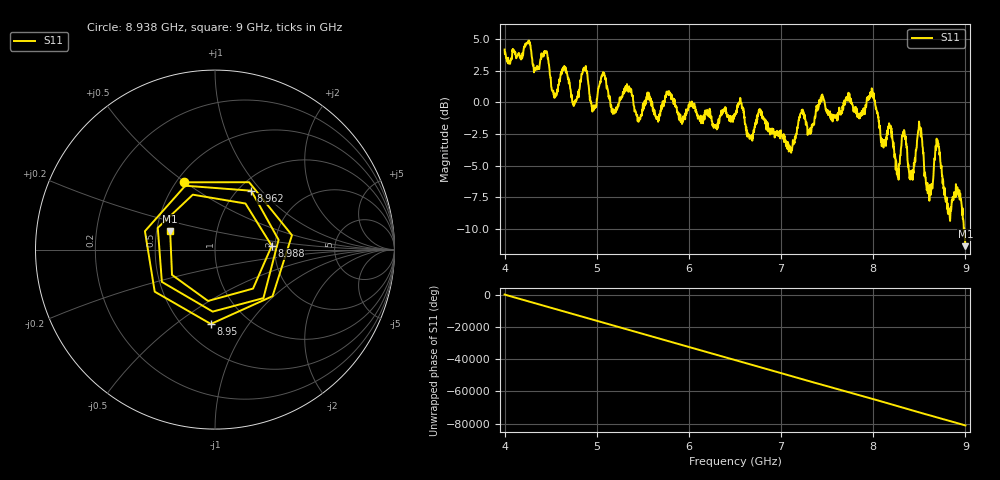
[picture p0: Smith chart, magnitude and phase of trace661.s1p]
! Created with skrf 1.8.0 (http://scikit-rf.org).
# Hz S RI R 50.0
!freq ReS11 ImS11
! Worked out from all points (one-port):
!   1601 points, 4 GHz to 9 GHz, reference 50 ohm
!   lowest |S11| = -11.4 dB at 9 GHz (marker M1), VSWR 1.74, Z = 29.5 + j6.52 ohm
!   |S11| at or under -10 dB: 8.982842 GHz to 8.98771 GHz (4.868 MHz wide, 0.0542 % of centre); 8.988147 GHz to end of sweep
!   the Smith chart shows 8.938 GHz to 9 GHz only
!   S11 on the Smith chart (normalised r, x): 8.938 GHz: 0.55, +0.49; 8.95 GHz: 0.68, -0.68; 8.962 GHz: 1.14, +0.88; 8.988 GHz: 1.92, +0.09; 9 GHz: 0.59, +0.13
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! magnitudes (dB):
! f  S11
! 4 GHz  4.2
! 4.444 GHz  4.0
! 4.544 GHz  0.7
! 4.625 GHz  2.7
! 4.756 GHz  -0.1
! 4.869 GHz  2.7
! 4.962 GHz  -0.4
! 5.072 GHz  2.2
! 5.25 GHz  0.4
! 5.875 GHz  -0.7
! 6.5 GHz  -0.9
! 7.125 GHz  -3.4
! 7.222 GHz  -0.8
! 7.75 GHz  0.4
! 7.991 GHz  1.0
! 8.103 GHz  -3.2
! 8.334 GHz  -2.2
! 8.375 GHz  -4.7
! 8.419 GHz  -5.5
! 8.506 GHz  -2.0
! 8.597 GHz  -7.0
! 8.697 GHz  -3.0
! 8.812 GHz  -8.8
! 8.938 GHz  -7.7
! 8.95 GHz  -7.6
! 8.962 GHz  -8.3
! 8.988 GHz  -10.0
! 9 GHz  -11.4
